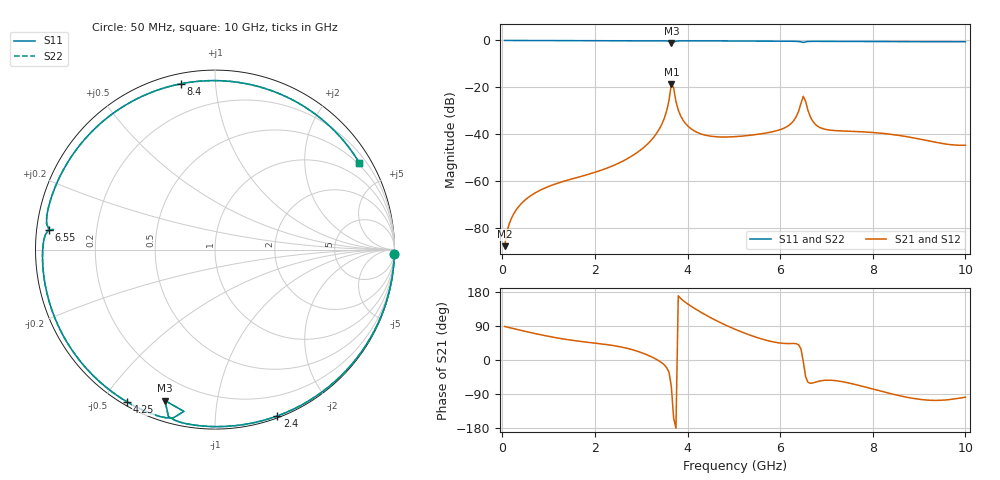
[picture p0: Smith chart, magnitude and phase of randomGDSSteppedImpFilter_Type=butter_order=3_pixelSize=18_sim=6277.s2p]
! freq	dB(S11)	phase(S11)	dB(S12)	phase(S12)
!  dB(S21)	phase(S21)	dB(S22)	phase(S22)
!S-par simulation data
#  GHz  S  DB  R 50
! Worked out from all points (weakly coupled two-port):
!   200 points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, 50 MHz to 10 GHz, reference 50 ohm
!   highest |S21| = -18.62 dB at 3.65 GHz (marker M1); lowest = -87.8 dB at 50 MHz (marker M2)
!   lowest |S11| = -1.0 dB at 3.65 GHz (marker M3), VSWR 16.65, Z = 4.56 - j35.9 ohm
!   |S11| at or under -10 dB: nowhere
!   |S22| runs from -1.0 to 0.0 dB; largest |S21 - S12| = 0
!   S11 on the Smith chart (normalised r, x): 50 MHz: 1, -76; 2.4 GHz: 0.02, -1.44; 4.25 GHz: 0.01, -0.58; 6.55 GHz: 0.04, +0.06; 8.4 GHz: 0.05, +0.81; 10 GHz: 0.44, +3.55
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0.05  -0.00 -1.5  -87.81 88.5  -87.81 88.5  -0.00 -1.5
0.65  -0.02 -19.2  -65.79 71.3  -65.79 71.3  -0.02 -19.2
1.75  -0.07 -51.1  -57.75 48.1  -57.75 48.1  -0.07 -51.1
2.4  -0.09 -69.5  -53.39 38.0  -53.39 38.0  -0.09 -69.5
3  -0.11 -86.3  -46.54 19.7  -46.54 19.7  -0.11 -86.4
3.4  -0.14 -97.9  -37.48 -3.6  -37.48 -3.6  -0.14 -97.9
3.55  -0.20 -103.1  -30.02 -20.2  -30.02 -20.2  -0.20 -103.1
3.65  -1.04 -108.3  -18.62 -69.9  -18.62 -69.9  -1.05 -108.3
3.7  -0.74 -100.9  -20.19 -153.3  -20.19 -153.3  -0.74 -100.9
3.9  -0.18 -109.8  -33.91 157.3  -33.91 157.3  -0.18 -109.8
4.25  -0.18 -120.0  -39.61 128.8  -39.61 128.8  -0.18 -120.1
5.05  -0.23 -142.8  -41.03 79.9  -41.03 79.9  -0.23 -142.8
6.1  -0.32 -174.5  -37.27 43.6  -37.27 43.6  -0.32 -174.5
6.35  -0.39 177.0  -32.42 43.0  -32.42 43.0  -0.39 177.0
6.5  -0.85 173.0  -23.82 -4.5  -23.82 -4.5  -0.85 172.9
6.55  -0.63 173.3  -26.02 -44.3  -26.02 -44.3  -0.62 173.2
6.7  -0.39 167.3  -34.36 -60.7  -34.36 -60.7  -0.39 167.2
7  -0.39 156.4  -38.03 -53.3  -38.03 -53.3  -0.39 156.4
8.35  -0.50 103.9  -39.96 -87.7  -39.96 -87.7  -0.50 103.8
8.4  -0.51 101.7  -40.08 -89.2  -40.08 -89.2  -0.51 101.7
9.15  -0.54 68.9  -42.63 -105.5  -42.63 -105.5  -0.54 68.8
10  -0.55 31.0  -44.72 -98.2  -44.72 -98.2  -0.55 31.0
